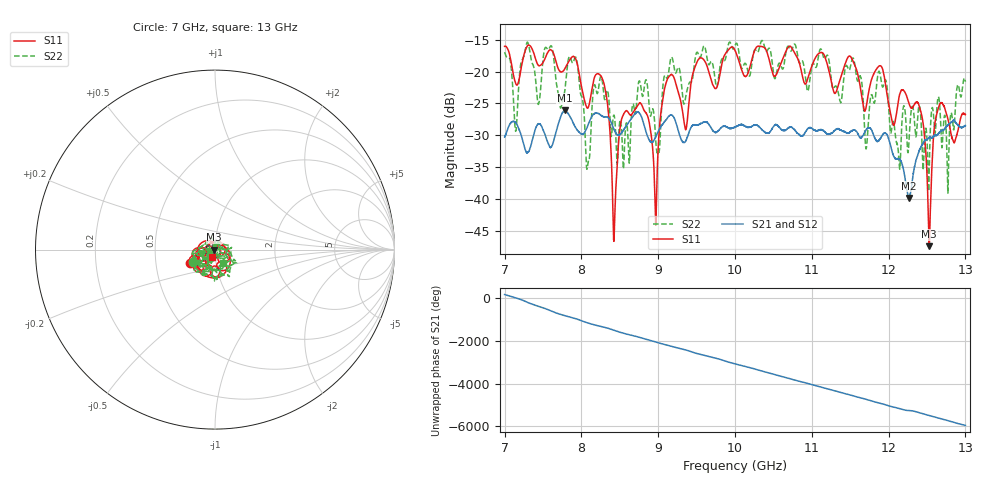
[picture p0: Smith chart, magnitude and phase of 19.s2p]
[Version] 2.0
! Rohde & Schwarz Vector Network Analyzer
! Rohde-Schwarz,ZNL20-2Port,1323001220200009,1.71.1.10-23.02.1.238
! Port Assignments:
! Nominal Port -> Actual Test Port
!  1 -> 1
!  2 -> 2
! Created: GMT+3 2024-09-24 16:07:34
# Hz S DB R 50
[Number of Ports] 2
[Two-Port Data Order] 21_12
! freq[Hz]  S11[mag dB]  S11[ang]  S21[mag dB]  S21[ang]  S12[mag dB]  S12[ang]  S22[mag dB]  S22[ang]
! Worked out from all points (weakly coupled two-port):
!   6001 points, 7 GHz to 13 GHz, reference 50 ohm
!   highest |S21| = -26.10 dB at 7.784 GHz (marker M1); lowest = -39.8 dB at 12.26 GHz (marker M2)
!   lowest |S11| = -47.3 dB at 12.53 GHz (marker M3), VSWR 1.01, Z = 49.6 - j0.0812 ohm
!   |S11| at or under -10 dB: start of sweep to end of sweep
!   |S22| runs from -39.0 to -15.1 dB; largest |S21 - S12| = 0.00097
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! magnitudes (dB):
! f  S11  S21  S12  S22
! 7 GHz  -16.1  -30.2  -30.2  -17.0
! 7.143 GHz  -21.8  -28.0  -28.1  -29.3
! 7.293 GHz  -16.0  -32.7  -32.7  -15.4
! 7.784 GHz  -19.6  -26.1  -26.1  -23.0
! 8 GHz  -22.3  -29.8  -29.8  -23.8
! 8.085 GHz  -25.7  -28.4  -28.4  -34.5
! 8.291 GHz  -21.8  -27.1  -27.1  -23.6
! 8.426 GHz  -45.9  -29.1  -29.1  -26.9
! 8.566 GHz  -26.3  -28.9  -28.8  -30.4
! 8.839 GHz  -26.5  -29.3  -29.3  -21.3
! 9 GHz  -31.9  -29.4  -29.4  -32.6
! 9.17 GHz  -20.4  -26.8  -26.8  -17.8
! 9.356 GHz  -29.1  -30.9  -31.0  -24.1
! 10 GHz  -16.7  -28.7  -28.7  -15.9
! 11 GHz  -19.2  -28.9  -28.9  -19.1
! 12 GHz  -25.0  -30.5  -30.5  -25.3
! 12.26 GHz  -24.8  -39.8  -39.8  -31.8
! 12.43 GHz  -26.9  -31.6  -31.5  -30.4
! 12.53 GHz  -47.3  -30.3  -30.3  -36.1
! 12.65 GHz  -25.5  -29.6  -29.6  -24.1
! 12.77 GHz  -27.5  -28.3  -28.3  -38.6
! 13 GHz  -26.7  -28.5  -28.5  -21.6
